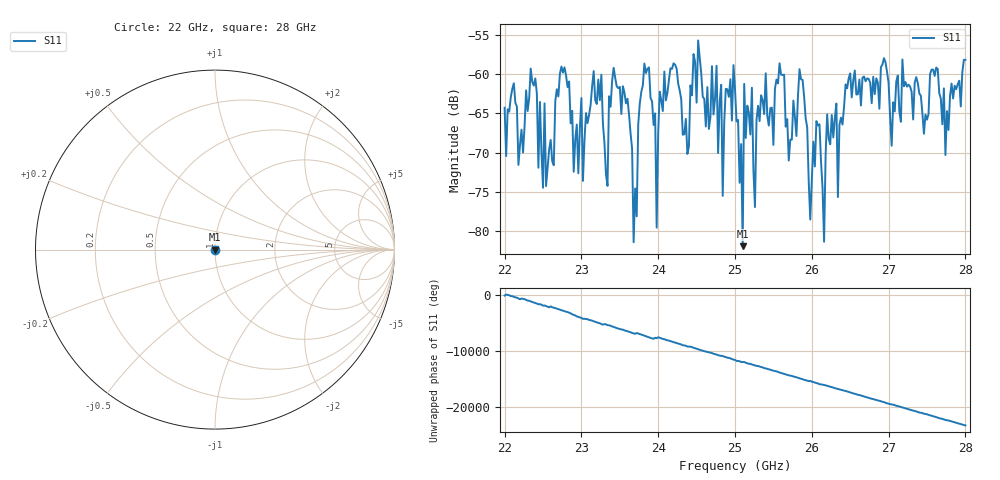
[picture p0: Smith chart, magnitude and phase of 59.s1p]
#  HZ  S  RI  R  50.00
! Rohde & Schwarz ZVA40 4Ports - Version 3.90 - 1145.1110k42 SN: 100403
! Date: 2023-10-04 11:20:50
! Measurement: S12
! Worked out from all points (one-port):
!   301 points, 22 GHz to 28 GHz, reference 50 ohm
!   lowest |S11| = -81.9 dB at 25.1 GHz (marker M1), VSWR 1.00, Z = 50 - j0.00732 ohm
!   |S11| at or under -10 dB: start of sweep to end of sweep
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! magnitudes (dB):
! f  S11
! 22 GHz  -64.3
! 22.34 GHz  -59.3
! 22.54 GHz  -74.3
! 22.76 GHz  -59.8
! 23.02 GHz  -73.6
! 23.5 GHz  -61.6
! 23.68 GHz  -81.4
! 23.82 GHz  -58.6
! 23.96 GHz  -65.0
! 23.98 GHz  -79.6
! 24.02 GHz  -62.2
! 24.26 GHz  -61.2
! 24.76 GHz  -58.9
! 24.84 GHz  -75.5
! 25 GHz  -61.9
! 25.1 GHz  -81.9
! 25.12 GHz  -61.2
! 25.26 GHz  -76.9
! 25.4 GHz  -59.9
! 25.76 GHz  -63.4
! 25.98 GHz  -78.5
! 26.1 GHz  -66.4
! 26.16 GHz  -81.4
! 26.2 GHz  -65.1
! 26.34 GHz  -75.7
! 26.5 GHz  -59.9
! 27.26 GHz  -61.3
! 28 GHz  -58.2
